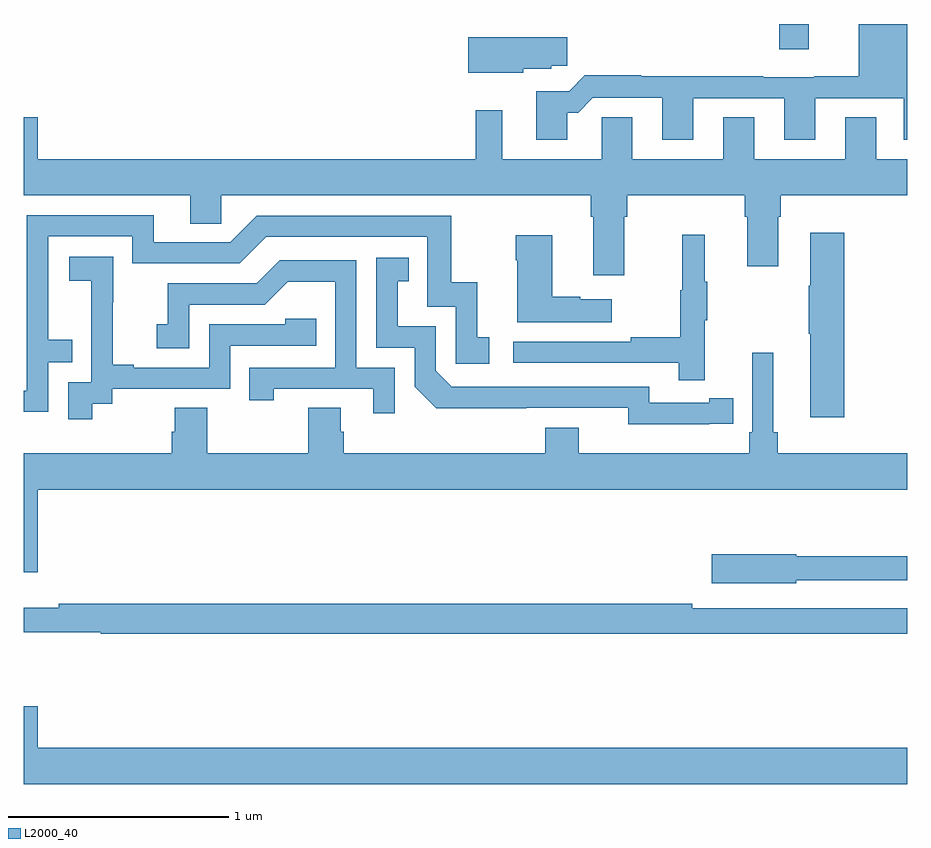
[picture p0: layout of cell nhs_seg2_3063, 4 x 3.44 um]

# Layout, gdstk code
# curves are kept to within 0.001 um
import gdstk
lib = gdstk.Library(unit=1e-6, precision=1e-09)
def R(c, l, rs):  # rectangles x0, y0, x1, y1
    for r in rs: c.add(gdstk.rectangle(r[:2], r[2:], *l))
def P(c, l, *ps):  # polygons
    for p in ps: c.add(gdstk.Polygon(p, *l))
L2000_40 = (2000, 40)

nhs_seg2_3063 = lib.new_cell('nhs_seg2_3063')
R(nhs_seg2_3063, L2000_40, [(276.419,593.685,276.553,593.8)])
P(nhs_seg2_3063, L2000_40, [(275.461,593.399),(275.51,593.399),(275.577,593.466),(275.891,593.466),(275.891,593.277),(276.031,593.277),(276.031,593.463),(276.443,593.463),(276.443,593.277),(276.583,593.277),(276.583,593.463),(276.983,593.463),(276.983,593.277),(277,593.277),(277,593.8),(276.779,593.8),(276.779,593.564),(276.579,593.564),(276.579,593.559),(276.347,593.559),(276.347,593.564),(275.795,593.564),(275.795,593.567),(275.54,593.567),(275.469,593.496),(275.321,593.496),(275.321,593.277),(275.461,593.277)],
  [(275.262,593.597),(275.388,593.597),(275.388,593.611),(275.461,593.611),(275.461,593.74),(275.012,593.74),(275.012,593.579),(275.262,593.579)],
  [(275.719,592.928),(275.732,592.928),(275.732,593.024),(276.263,593.024),(276.263,592.928),(276.275,592.928),(276.275,592.704),(276.415,592.704),(276.415,592.928),(276.428,592.928),(276.428,593.024),(277,593.024),(277,593.188),(276.859,593.188),(276.859,593.378),(276.719,593.378),(276.719,593.188),(276.307,593.188),(276.307,593.378),(276.167,593.378),(276.167,593.188),(275.755,593.188),(275.755,593.378),(275.616,593.378),(275.616,593.188),(275.167,593.188),(275.167,593.41),(275.046,593.41),(275.046,593.188),(273.064,593.188),(273.064,593.377),(273,593.377),(273,593.024),(273.755,593.024),(273.755,592.897),(273.894,592.897),(273.894,593.024),(275.567,593.024),(275.567,592.928),(275.579,592.928),(275.579,592.662),(275.719,592.662)],
  [(273.111,592.269),(273.221,592.269),(273.221,592.37),(273.111,592.37),(273.111,592.839),(273.492,592.839),(273.492,592.716),(273.978,592.716),(274.098,592.836),(274.827,592.836),(274.827,592.521),(274.956,592.521),(274.956,592.263),(275.107,592.263),(275.107,592.383),(275.054,592.383),(275.054,592.63),(274.936,592.63),(274.936,592.932),(274.056,592.932),(273.936,592.812),(273.589,592.812),(273.589,592.935),(273.015,592.935),(273.015,592.14),(273,592.14),(273,592.044),(273.111,592.044)],
  [(276.714,592.855),(276.56,592.855),(276.56,592.616),(276.553,592.616),(276.553,592.399),(276.56,592.399),(276.56,592.02),(276.714,592.02)],
  [(276.083,592.459),(276.094,592.459),(276.094,592.633),(276.083,592.633),(276.083,592.846),(275.98,592.846),(275.98,592.596),(275.973,592.596),(275.973,592.382),(275.749,592.382),(275.749,592.362),(275.217,592.362),(275.217,592.266),(275.965,592.266),(275.965,592.188),(276.083,592.188)],
  [(275.662,592.555),(275.519,592.555),(275.519,592.565),(275.392,592.565),(275.392,592.843),(275.227,592.843),(275.227,592.73),(275.234,592.73),(275.234,592.451),(275.662,592.451)],
  [(273.31,592.081),(273.402,592.081),(273.402,592.149),(273.936,592.149),(273.936,592.344),(274.325,592.344),(274.325,592.467),(274.185,592.467),(274.185,592.44),(273.84,592.44),(273.84,592.245),(273.499,592.245),(273.499,592.258),(273.404,592.258),(273.404,592.541),(273.405,592.541),(273.405,592.747),(273.207,592.747),(273.207,592.637),(273.305,592.637),(273.305,592.409),(273.306,592.409),(273.306,592.179),(273.201,592.179),(273.201,592.011),(273.31,592.011)],
  [(276.104,591.99),(276.212,591.99),(276.212,592.106),(276.104,592.106),(276.104,592.086),(275.832,592.086),(275.832,592.158),(274.938,592.158),(274.866,592.23),(274.866,592.431),(274.693,592.431),(274.693,592.635),(274.742,592.635),(274.742,592.741),(274.596,592.741),(274.596,592.335),(274.77,592.335),(274.77,592.158),(274.868,592.061),(275.736,592.062),(275.736,591.989)],
  [(274.68,592.245),(274.506,592.245),(274.506,592.731),(274.16,592.731),(274.055,592.626),(273.652,592.626),(273.652,592.441),(273.603,592.441),(273.603,592.332),(273.75,592.332),(273.75,592.53),(274.092,592.53),(274.196,592.634),(274.41,592.634),(274.41,592.245),(274.021,592.245),(274.021,592.098),(274.132,592.098),(274.132,592.149),(274.583,592.149),(274.583,592.038),(274.68,592.038)],
  [(273.064,591.692),(277,591.692),(277,591.856),(276.413,591.856),(276.413,591.952),(276.394,591.952),(276.394,592.312),(276.297,592.312),(276.297,591.952),(276.284,591.952),(276.284,591.856),(275.512,591.856),(275.512,591.973),(275.36,591.973),(275.36,591.856),(274.448,591.856),(274.448,591.954),(274.435,591.954),(274.435,592.064),(274.288,592.064),(274.288,591.856),(273.831,591.856),(273.831,592.064),(273.683,592.064),(273.683,591.954),(273.671,591.954),(273.671,591.856),(273,591.856),(273,591.318),(273.064,591.318)],
  [(276.498,591.282),(277,591.282),(277,591.391),(276.498,591.391),(276.498,591.399),(276.114,591.399),(276.114,591.269),(276.498,591.269)],
  [(277,591.156),(276.026,591.156),(276.026,591.176),(273.16,591.176),(273.16,591.157),(273,591.157),(273,591.048),(273.35,591.048),(273.35,591.04),(277,591.04)],
  [(277,590.524),(273.064,590.524),(273.064,590.713),(273,590.713),(273,590.36),(277,590.36)])

lib.write_gds('nhs_seg2_3063.gds')
